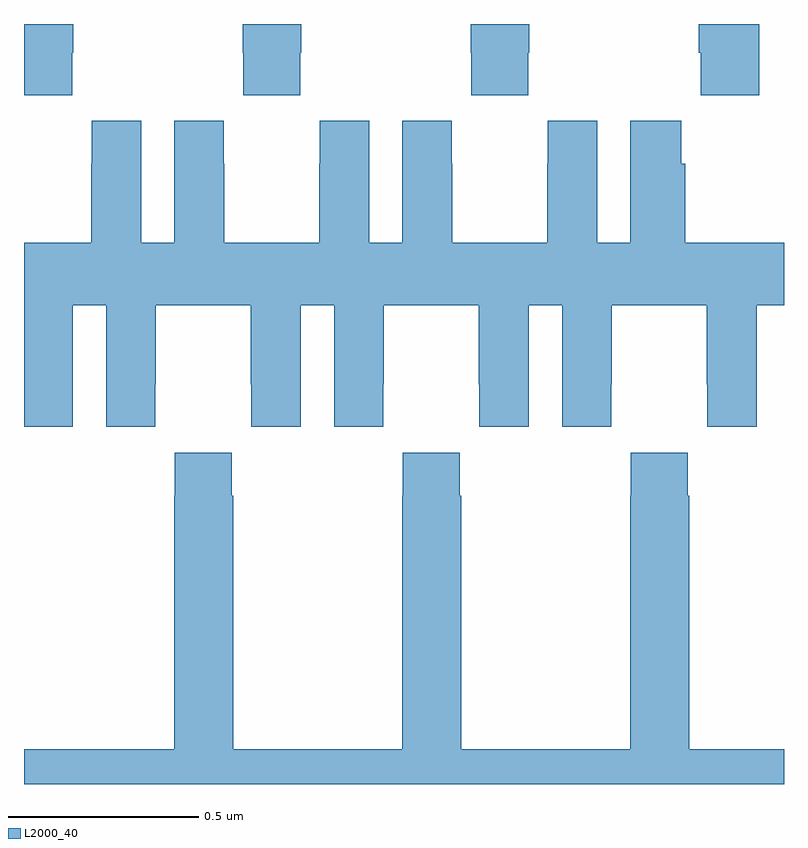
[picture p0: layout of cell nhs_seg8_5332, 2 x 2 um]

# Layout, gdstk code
import gdstk
lib = gdstk.Library(unit=1e-6, precision=1e-09)
def P(c, l, *ps):  # polygons
    for p in ps: c.add(gdstk.Polygon(p, *l))
L2000_40 = (2000, 40)

nhs_seg8_5332 = lib.new_cell('nhs_seg8_5332')
P(nhs_seg8_5332, L2000_40, [(183.935,1123.9),(183.775,1123.9),(183.775,1123.825),(183.781,1123.825),(183.781,1123.713),(183.935,1123.713)],
  [(183.327,1123.825),(183.33,1123.825),(183.33,1123.9),(183.175,1123.9),(183.175,1123.825),(183.177,1123.825),(183.177,1123.713),(183.327,1123.713)],
  [(182.727,1123.825),(182.73,1123.825),(182.73,1123.9),(182.575,1123.9),(182.575,1123.825),(182.577,1123.825),(182.577,1123.713),(182.727,1123.713)],
  [(182.127,1123.825),(182.13,1123.825),(182.13,1123.9),(182,1123.9),(182,1123.713),(182.127,1123.713)],
  [(182.128,1123.16),(182.216,1123.16),(182.216,1122.84),(182.346,1122.84),(182.346,1122.952),(182.347,1122.952),(182.347,1123.16),(182.597,1123.16),(182.597,1122.952),(182.598,1122.952),(182.598,1122.84),(182.728,1122.84),(182.728,1123.16),(182.816,1123.16),(182.816,1122.84),(182.946,1122.84),(182.946,1122.952),(182.947,1122.952),(182.947,1123.16),(183.197,1123.16),(183.197,1122.952),(183.198,1122.952),(183.198,1122.84),(183.328,1122.84),(183.328,1123.16),(183.416,1123.16),(183.416,1122.84),(183.546,1122.84),(183.546,1122.952),(183.547,1122.952),(183.547,1123.16),(183.797,1123.16),(183.797,1122.952),(183.798,1122.952),(183.798,1122.84),(183.928,1122.84),(183.928,1123.16),(184,1123.16),(184,1123.324),(183.74,1123.324),(183.74,1123.532),(183.73,1123.532),(183.73,1123.645),(183.596,1123.645),(183.596,1123.324),(183.508,1123.324),(183.508,1123.645),(183.378,1123.645),(183.378,1123.532),(183.377,1123.532),(183.377,1123.324),(183.127,1123.324),(183.127,1123.532),(183.126,1123.532),(183.126,1123.645),(182.996,1123.645),(182.996,1123.324),(182.908,1123.324),(182.908,1123.645),(182.778,1123.645),(182.778,1123.532),(182.777,1123.532),(182.777,1123.324),(182.527,1123.324),(182.527,1123.532),(182.526,1123.532),(182.526,1123.645),(182.396,1123.645),(182.396,1123.324),(182.308,1123.324),(182.308,1123.645),(182.178,1123.645),(182.178,1123.532),(182.177,1123.532),(182.177,1123.324),(182,1123.324),(182,1122.84),(182.128,1122.84)],
  [(183.597,1122.659),(183.595,1122.659),(183.595,1121.992),(183.15,1121.992),(183.15,1122.659),(183.147,1122.659),(183.147,1122.772),(182.997,1122.772),(182.997,1122.659),(182.995,1122.659),(182.995,1121.992),(182.55,1121.992),(182.55,1122.659),(182.547,1122.659),(182.547,1122.772),(182.397,1122.772),(182.397,1122.659),(182.395,1122.659),(182.395,1121.992),(182,1121.992),(182,1121.9),(184,1121.9),(184,1121.992),(183.75,1121.992),(183.75,1122.659),(183.747,1122.659),(183.747,1122.772),(183.597,1122.772)])

lib.write_gds('nhs_seg8_5332.gds')
